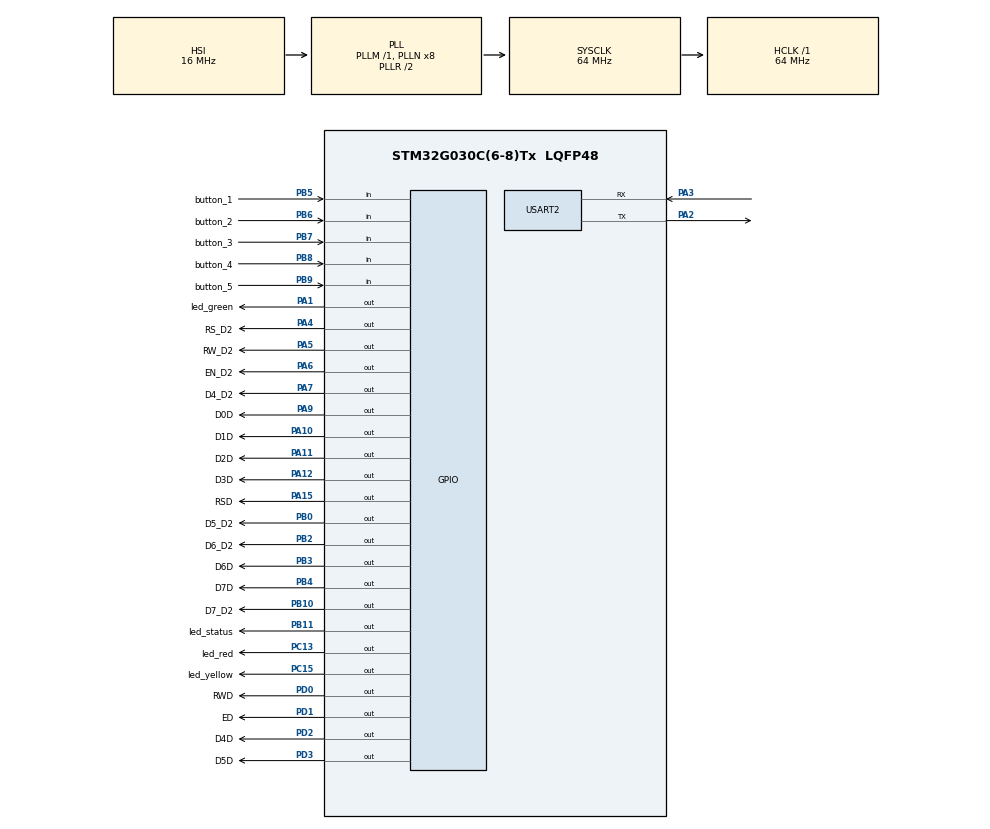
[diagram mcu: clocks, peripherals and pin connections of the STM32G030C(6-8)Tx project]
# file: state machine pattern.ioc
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Mcu.Family=STM32G0
Mcu.Name=STM32G030C(6-8)Tx
Mcu.Package=LQFP48
PA1.GPIO_Label=led_green
PA1.Signal=GPIO_Output
PA10.GPIO_Label=D1D
PA10.PinState=GPIO_PIN_RESET
PA10.Signal=GPIO_Output
PA11\ [PA9].GPIO_Label=D2D
PA11\ [PA9].PinState=GPIO_PIN_RESET
PA11\ [PA9].Signal=GPIO_Output
PA12\ [PA10].GPIO_Label=D3D
PA12\ [PA10].PinState=GPIO_PIN_RESET
PA12\ [PA10].Signal=GPIO_Output
PA13.Mode=Serial_Wire
PA13.Signal=SYS_SWDIO
PA14-BOOT0.Mode=Serial_Wire
PA14-BOOT0.Signal=SYS_SWCLK
PA15.GPIO_Label=RSD
PA15.Signal=GPIO_Output
PA2.Mode=Asynchronous
PA2.Signal=USART2_TX
PA3.Mode=Asynchronous
PA3.Signal=USART2_RX
PA4.GPIO_Label=RS_D2
PA4.Signal=GPIO_Output
PA5.GPIO_Label=RW_D2
PA5.Signal=GPIO_Output
PA6.GPIO_Label=EN_D2
PA6.Signal=GPIO_Output
PA7.GPIO_Label=D4_D2
PA7.Signal=GPIO_Output
PA9.GPIO_Label=D0D
PA9.PinState=GPIO_PIN_RESET
PA9.Signal=GPIO_Output
PB0.GPIO_Label=D5_D2
PB0.Signal=GPIO_Output
PB10.GPIO_Label=D7_D2
PB10.Signal=GPIO_Output
PB11.GPIO_Label=led_status
PB11.Signal=GPIO_Output
PB2.GPIO_Label=D6_D2
PB2.Signal=GPIO_Output
PB3.GPIO_Label=D6D
PB3.Signal=GPIO_Output
PB4.GPIO_Label=D7D
PB4.Signal=GPIO_Output
PB5.GPIO_Label=button_1
PB5.GPIO_PuPd=GPIO_PULLUP
PB5.Signal=GPIO_Input
PB6.GPIO_Label=button_2
PB6.GPIO_PuPd=GPIO_PULLUP
PB6.Signal=GPIO_Input
PB7.GPIO_Label=button_3
PB7.GPIO_PuPd=GPIO_PULLUP
PB7.Signal=GPIO_Input
PB8.GPIO_Label=button_4
PB8.GPIO_PuPd=GPIO_PULLUP
PB8.Signal=GPIO_Input
PB9.GPIO_Label=button_5
PB9.GPIO_PuPd=GPIO_PULLUP
PB9.Signal=GPIO_Input
PC13.GPIO_Label=led_red
PC13.Signal=GPIO_Output
PC15-OSC32_OUT\ (PC15).GPIO_Label=led_yellow
PC15-OSC32_OUT\ (PC15).Signal=GPIO_Output
PD0.GPIO_Label=RWD
PD0.Signal=GPIO_Output
PD1.GPIO_Label=ED
PD1.Signal=GPIO_Output
PD2.GPIO_Label=D4D
PD2.Signal=GPIO_Output
PD3.GPIO_Label=D5D
PD3.Signal=GPIO_Output
ProjectManager.HeapSize=0x200
ProjectManager.StackSize=0x400
ProjectManager.TargetToolchain=STM32CubeIDE
RCC.ADCFreq_Value=64000000
RCC.AHBFreq_Value=64000000
RCC.CortexFreq_Value=64000000
RCC.EXTERNAL_CLOCK_VALUE=12288000
RCC.HCLKFreq_Value=64000000
RCC.HSE_VALUE=8000000
RCC.HSI_VALUE=16000000
RCC.LSE_VALUE=32768
RCC.SYSCLKFreq_VALUE=64000000
RCC.SYSCLKSource=RCC_SYSCLKSOURCE_PLLCLK
RCC.VCOOutputFreq_Value=128000000
USART2.VirtualMode-Asynchronous=VM_ASYNC
board=custom

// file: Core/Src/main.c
/* USER CODE BEGIN Header */
/**
  ******************************************************************************
  * @file           : main.c
  * @brief          : Main program body
  ******************************************************************************
  * @attention
  *
  * Copyright (c) 2023 STMicroelectronics.
  * All rights reserved.
  *
  * This software is licensed under terms that can be found in the LICENSE file
  * in the root directory of this software component.
  * If no LICENSE file comes with this software, it is provided AS-IS.
  *
  ******************************************************************************
  */
/* USER CODE END Header */
#include "main.h"

/* USER CODE BEGIN Includes */
#include "serial.h"
#include "led.h"
#include "lcd.h"
/* USER CODE END Includes */

UART_HandleTypeDef huart2;

void SystemClock_Config(void);
static void MX_GPIO_Init(void);
static void MX_USART2_UART_Init(void);

int main(void)
{

  /* MCU Configuration--------------------------------------------------------*/

  /* Reset of all peripherals, Initializes the Flash interface and the Systick. */
  HAL_Init();

  /* Configure the system clock */
  SystemClock_Config();

  /* Initialize all configured peripherals */
  MX_GPIO_Init();
  MX_USART2_UART_Init();
  /* USER CODE BEGIN 2 */

  //SerialUartInit();
  //lcd_init();//inicializamos la pantalla
  //lcd_clear();
  //lcd_return_home();
  SerialUartSendString("Iniciando programa\n");
  led_off(led_status);
  led_all_on();
  HAL_Delay(100);
  led_all_off();
  HAL_Delay(100);
  led_on(led_status);

  uint8_t variable_1=0;
  uint8_t buffer_1[16];
  uint8_t variable_2=0;
  uint8_t buffer_2[16];

//we have to desing the pins and port toc reate lcd
//first we have to create a lcd_t varaible, this varaible recevive all the configuration data

/*
 lcd_t lcd_1= lcd_create_4_bit(	RSD_GPIO_Port, RWD_GPIO_Port, ED_GPIO_Port,
		  	  	  	  	  	  	  	RSD_Pin, RWD_Pin, ED_Pin,
									D7D_GPIO_Port, D6D_GPIO_Port, D5D_GPIO_Port, D4D_GPIO_Port,
									D7D_Pin, D6D_Pin, D5D_Pin, D4D_Pin, lcd_chr_16x2_mode);
									*/

  lcd_t lcd_1 = lcd_create_8_bit( RSD_GPIO_Port, RWD_GPIO_Port, ED_GPIO_Port,
		  	  	  	  	  	  	  RSD_Pin, RWD_Pin, ED_Pin,
								  D7D_GPIO_Port, D6D_GPIO_Port,D5D_GPIO_Port,D4D_GPIO_Port,
								  D3D_GPIO_Port, D2D_GPIO_Port,D1D_GPIO_Port,D0D_GPIO_Port,
								  D7D_Pin,D6D_Pin,D5D_Pin,D4D_Pin,
								  D3D_Pin,D2D_Pin,D1D_Pin,D0D_Pin, lcd_chr_16x2_mode);

  lcd_t lcd_2 = lcd_create_4_bit(	RS_D2_GPIO_Port, RW_D2_GPIO_Port, EN_D2_GPIO_Port,
		  	  	  	  	  	  	    RS_D2_Pin, RW_D2_Pin, EN_D2_Pin,
									D7_D2_GPIO_Port, D6_D2_GPIO_Port, D5_D2_GPIO_Port, D4_D2_GPIO_Port,
									D7_D2_Pin, D6_D2_Pin, D5_D2_Pin, D4_D2_Pin, lcd_chr_16x2_mode);
  lcd_clear(&lcd_1);
  lcd_clear(&lcd_2);
  lcd_return_home(&lcd_1);
  lcd_return_home(&lcd_2);

  /* USER CODE END 2 */

  /* Infinite loop */
  while (1)
  {

    /* USER CODE BEGIN 3 */

	  //lcd_return_home();
	 // lcd_set_cursor(0, 0);
	  //lcd_print_string((uint8_t *)" PRUEBA ");
	  //HAL_Delay(1000);
	  //variable=button_read();
	  //lcd_set_cursor(0, 0);
	  //lcd_print_string((uint8_t *)"Valor de botones");
	  //lcd_set_cursor(1, 0);
	  //sprintf(buffer,"%3d",variable);
	 // lcd_print_string(buffer);
	  //HAL_Delay(100);

	 lcd_set_cursor(&lcd_1, 0, 0);
	  lcd_print_string(&lcd_1, "PRUEBA 1");
	  lcd_set_cursor(&lcd_1, 1, 0);
	  lcd_print_string(&lcd_1, "LCD 1");
	  sprintf(buffer_1,"%3d",variable_1);
	  lcd_set_cursor(&lcd_1, 1, 6);
	  lcd_print_string(&lcd_1, buffer_1);
	  variable_1++;
	  lcd_set_cursor(&lcd_1, 0, 15);
	  lcd_print_string(&lcd_1, "<");

	  lcd_set_cursor(&lcd_2, 0, 0);
	  lcd_print_string(&lcd_2, "PRUEBA 1");
	  lcd_set_cursor(&lcd_2, 1, 0);
	  lcd_print_string(&lcd_2, "LCD 2");
	  sprintf(buffer_2,"%3d",variable_2);
	  lcd_set_cursor(&lcd_2, 1, 6);
	  lcd_print_string(&lcd_2, buffer_2);
	  variable_2++;
	  lcd_set_cursor(&lcd_2, 0, 15);
	  lcd_print_string(&lcd_2, "*");

	/* prueba++;
	  send_to_lcd(&lcd_1,prueba,1);
	  HAL_Delay(10);*/
	 /* HAL_GPIO_WritePin(D7D_GPIO_Port, D7D_Pin, 1);
	  HAL_GPIO_WritePin(D6D_GPIO_Port, D6D_Pin, 1);
	  HAL_GPIO_WritePin(D5D_GPIO_Port, D5D_Pin, 1);
	  HAL_GPIO_WritePin(D4D_GPIO_Port, D4D_Pin, 1);
	  HAL_GPIO_WritePin(D3D_GPIO_Port, D3D_Pin, 1);
	  HAL_GPIO_WritePin(D2D_GPIO_Port, D2D_Pin, 1);
	  HAL_GPIO_WritePin(D1D_GPIO_Port, D1D_Pin, 0);
	  HAL_GPIO_WritePin(D0D_GPIO_Port, D0D_Pin, 1);*/

	 /* lcd_set_cursor_p(&lcd_1, 0, 0);
	  lcd_set_cursor_p(&lcd_2, 0, 0);

	  lcd_print_string_p(&lcd_1, "PRUEBA 1");
	  lcd_print_string_p(&lcd_2, "PRUEBA 1");
	  lcd_set_cursor_p(&lcd_1, 1, 0);
	  lcd_set_cursor_p(&lcd_2, 1, 0);
	  lcd_print_string_p(&lcd_1, "DATA:");
	  lcd_print_string_p(&lcd_2, "DATA:");
	  lcd_set_cursor_p(&lcd_1, 0, 15);
	  lcd_set_cursor_p(&lcd_2, 0, 15);
	  lcd_print_string_p(&lcd_1, "<");
	  lcd_print_string_p(&lcd_2, "<");*/

	 //  HAL_Delay(1000);
	  //lcd_clear();
	  //HAL_Delay(1000);

  }
  /* USER CODE END 3 */
}

void SystemClock_Config(void)
{
  RCC_OscInitTypeDef RCC_OscInitStruct = {0};
  RCC_ClkInitTypeDef RCC_ClkInitStruct = {0};

  /** Configure the main internal regulator output voltage
  */
  HAL_PWREx_ControlVoltageScaling(PWR_REGULATOR_VOLTAGE_SCALE1);

  /** Initializes the RCC Oscillators according to the specified parameters
  * in the RCC_OscInitTypeDef structure.
  */
  RCC_OscInitStruct.OscillatorType = RCC_OSCILLATORTYPE_HSI;
  RCC_OscInitStruct.HSIState = RCC_HSI_ON;
  RCC_OscInitStruct.HSIDiv = RCC_HSI_DIV1;
  RCC_OscInitStruct.HSICalibrationValue = RCC_HSICALIBRATION_DEFAULT;
  RCC_OscInitStruct.PLL.PLLState = RCC_PLL_ON;
  RCC_OscInitStruct.PLL.PLLSource = RCC_PLLSOURCE_HSI;
  RCC_OscInitStruct.PLL.PLLM = RCC_PLLM_DIV1;
  RCC_OscInitStruct.PLL.PLLN = 8;
  RCC_OscInitStruct.PLL.PLLP = RCC_PLLP_DIV2;
  RCC_OscInitStruct.PLL.PLLR = RCC_PLLR_DIV2;
  if (HAL_RCC_OscConfig(&RCC_OscInitStruct) != HAL_OK)
  {
    Error_Handler();
  }

  /** Initializes the CPU, AHB and APB buses clocks
  */
  RCC_ClkInitStruct.ClockType = RCC_CLOCKTYPE_HCLK|RCC_CLOCKTYPE_SYSCLK
                              |RCC_CLOCKTYPE_PCLK1;
  RCC_ClkInitStruct.SYSCLKSource = RCC_SYSCLKSOURCE_PLLCLK;
  RCC_ClkInitStruct.AHBCLKDivider = RCC_SYSCLK_DIV1;
  RCC_ClkInitStruct.APB1CLKDivider = RCC_HCLK_DIV1;

  if (HAL_RCC_ClockConfig(&RCC_ClkInitStruct, FLASH_LATENCY_2) != HAL_OK)
  {
    Error_Handler();
  }
}

static void MX_USART2_UART_Init(void)
{

  huart2.Instance = USART2;
  huart2.Init.BaudRate = 115200;
  huart2.Init.WordLength = UART_WORDLENGTH_8B;
  huart2.Init.StopBits = UART_STOPBITS_1;
  huart2.Init.Parity = UART_PARITY_NONE;
  huart2.Init.Mode = UART_MODE_TX_RX;
  huart2.Init.HwFlowCtl = UART_HWCONTROL_NONE;
  huart2.Init.OverSampling = UART_OVERSAMPLING_16;
  huart2.Init.OneBitSampling = UART_ONE_BIT_SAMPLE_DISABLE;
  huart2.Init.ClockPrescaler = UART_PRESCALER_DIV1;
  huart2.AdvancedInit.AdvFeatureInit = UART_ADVFEATURE_NO_INIT;
  if (HAL_UART_Init(&huart2) != HAL_OK)
  {
    Error_Handler();
  }

}

static void MX_GPIO_Init(void)
{
  GPIO_InitTypeDef GPIO_InitStruct = {0};

  /* GPIO Ports Clock Enable */
  __HAL_RCC_GPIOC_CLK_ENABLE();
  __HAL_RCC_GPIOA_CLK_ENABLE();
  __HAL_RCC_GPIOB_CLK_ENABLE();
  __HAL_RCC_GPIOD_CLK_ENABLE();

  /*Configure GPIO pin Output Level */
  HAL_GPIO_WritePin(GPIOC, led_red_Pin|led_yellow_Pin, GPIO_PIN_RESET);

  /*Configure GPIO pin Output Level */
  HAL_GPIO_WritePin(GPIOA, led_green_Pin|RS_D2_Pin|RW_D2_Pin|EN_D2_Pin
                          |D4_D2_Pin|D0D_Pin|D1D_Pin|D2D_Pin
                          |D3D_Pin|RSD_Pin, GPIO_PIN_RESET);

  /*Configure GPIO pin Output Level */
  HAL_GPIO_WritePin(GPIOB, D5_D2_Pin|D6_D2_Pin|D7_D2_Pin|led_status_Pin
                          |D6D_Pin|D7D_Pin, GPIO_PIN_RESET);

  /*Configure GPIO pin Output Level */
  HAL_GPIO_WritePin(GPIOD, RWD_Pin|ED_Pin|D4D_Pin|D5D_Pin, GPIO_PIN_RESET);

  /*Configure GPIO pins : led_red_Pin led_yellow_Pin */
  GPIO_InitStruct.Pin = led_red_Pin|led_yellow_Pin;
  GPIO_InitStruct.Mode = GPIO_MODE_OUTPUT_PP;
  GPIO_InitStruct.Pull = GPIO_NOPULL;
  GPIO_InitStruct.Speed = GPIO_SPEED_FREQ_LOW;
  HAL_GPIO_Init(GPIOC, &GPIO_InitStruct);

  /*Configure GPIO pins : led_green_Pin RS_D2_Pin RW_D2_Pin EN_D2_Pin
                           D4_D2_Pin D0D_Pin D1D_Pin D2D_Pin
                           D3D_Pin RSD_Pin */
  GPIO_InitStruct.Pin = led_green_Pin|RS_D2_Pin|RW_D2_Pin|EN_D2_Pin
                          |D4_D2_Pin|D0D_Pin|D1D_Pin|D2D_Pin
                          |D3D_Pin|RSD_Pin;
  GPIO_InitStruct.Mode = GPIO_MODE_OUTPUT_PP;
  GPIO_InitStruct.Pull = GPIO_NOPULL;
  GPIO_InitStruct.Speed = GPIO_SPEED_FREQ_LOW;
  HAL_GPIO_Init(GPIOA, &GPIO_InitStruct);

  /*Configure GPIO pins : D5_D2_Pin D6_D2_Pin D7_D2_Pin led_status_Pin
                           D6D_Pin D7D_Pin */
  GPIO_InitStruct.Pin = D5_D2_Pin|D6_D2_Pin|D7_D2_Pin|led_status_Pin
                          |D6D_Pin|D7D_Pin;
  GPIO_InitStruct.Mode = GPIO_MODE_OUTPUT_PP;
  GPIO_InitStruct.Pull = GPIO_NOPULL;
  GPIO_InitStruct.Speed = GPIO_SPEED_FREQ_LOW;
  HAL_GPIO_Init(GPIOB, &GPIO_InitStruct);

  /*Configure GPIO pins : RWD_Pin ED_Pin D4D_Pin D5D_Pin */
  GPIO_InitStruct.Pin = RWD_Pin|ED_Pin|D4D_Pin|D5D_Pin;
  GPIO_InitStruct.Mode = GPIO_MODE_OUTPUT_PP;
  GPIO_InitStruct.Pull = GPIO_NOPULL;
  GPIO_InitStruct.Speed = GPIO_SPEED_FREQ_LOW;
  HAL_GPIO_Init(GPIOD, &GPIO_InitStruct);

  /*Configure GPIO pins : button_1_Pin button_2_Pin button_3_Pin button_4_Pin
                           button_5_Pin */
  GPIO_InitStruct.Pin = button_1_Pin|button_2_Pin|button_3_Pin|button_4_Pin
                          |button_5_Pin;
  GPIO_InitStruct.Mode = GPIO_MODE_INPUT;
  GPIO_InitStruct.Pull = GPIO_PULLUP;
  HAL_GPIO_Init(GPIOB, &GPIO_InitStruct);

}

void Error_Handler(void)
{
  __disable_irq();
  while (1)
  {
  }
}
